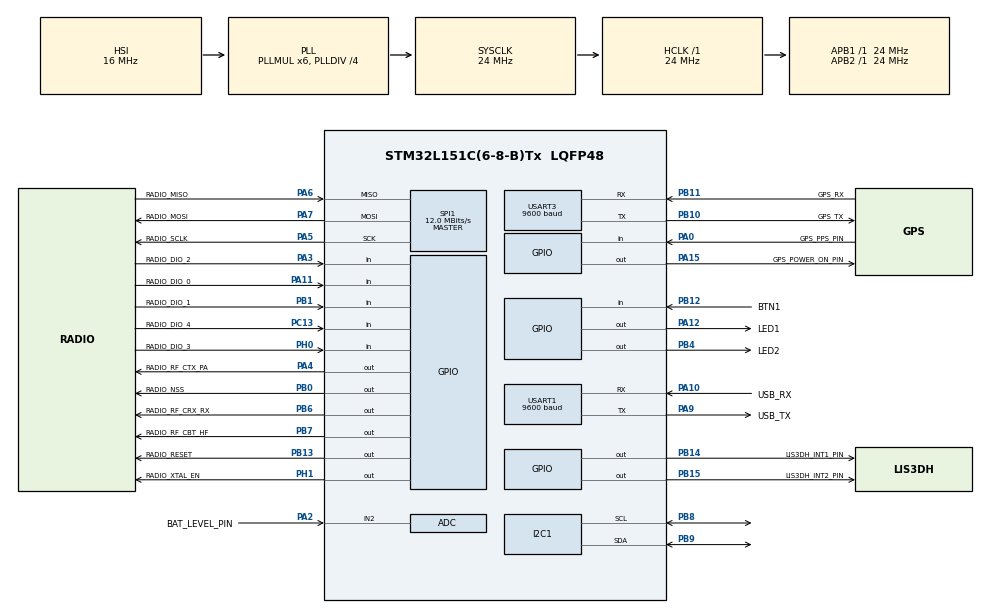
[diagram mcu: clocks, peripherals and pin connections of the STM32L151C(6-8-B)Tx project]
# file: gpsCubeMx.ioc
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ADC.Channel-0\#ChannelRegularConversion=ADC_CHANNEL_2
ADC.NbrOfConversion=1
ADC.NbrOfConversionFlag=1
ADC.Rank-0\#ChannelRegularConversion=1
ADC.SamplingTime-0\#ChannelRegularConversion=ADC_SAMPLETIME_4CYCLES
ADC.ScanConvMode=ADC_SCAN_DISABLE
Mcu.Family=STM32L1
Mcu.Name=STM32L151C(6-8-B)Tx
Mcu.Package=LQFP48
NVIC.ADC1_IRQn=true\:0\:0\:false\:false\:true\:true
NVIC.PriorityGroup=NVIC_PRIORITYGROUP_4
NVIC.RTC_Alarm_IRQn=true\:0\:0\:false\:false\:true\:true
NVIC.RTC_WKUP_IRQn=true\:0\:0\:false\:false\:true\:true
NVIC.USART1_IRQn=true\:0\:0\:false\:false\:true\:true
NVIC.USART3_IRQn=true\:0\:0\:false\:false\:true\:true
PA0-WKUP1.GPIO_Label=GPS_PPS_PIN
PA0-WKUP1.Signal=GPIO_Input
PA10.GPIO_Label=USB_RX
PA10.Mode=Asynchronous
PA10.Signal=USART1_RX
PA11.GPIO_Label=RADIO_DIO_0
PA11.Signal=GPIO_Input
PA12.GPIO_Label=LED1
PA12.Signal=GPIO_Output
PA13.Mode=Serial_Wire
PA13.Signal=SYS_JTMS-SWDIO
PA14.Mode=Serial_Wire
PA14.Signal=SYS_JTCK-SWCLK
PA15.GPIO_Label=GPS_POWER_ON_PIN
PA15.Signal=GPIO_Output
PA2.GPIO_Label=BAT_LEVEL_PIN 
PA2.Mode=IN2
PA2.Signal=ADC_IN2
PA3.GPIO_Label=RADIO_DIO_2
PA3.Signal=GPIO_Input
PA4.GPIO_Label=RADIO_RF_CTX_PA
PA4.Signal=GPIO_Output
PA5.GPIO_Label=RADIO_SCLK
PA5.Mode=Full_Duplex_Master
PA5.Signal=SPI1_SCK
PA6.GPIO_Label=RADIO_MISO
PA6.Mode=Full_Duplex_Master
PA6.Signal=SPI1_MISO
PA7.GPIO_Label=RADIO_MOSI
PA7.Mode=Full_Duplex_Master
PA7.Signal=SPI1_MOSI
PA9.GPIO_Label=USB_TX
PA9.Mode=Asynchronous
PA9.Signal=USART1_TX
PB0.GPIO_Label=RADIO_NSS
PB0.Signal=GPIO_Output
PB1.GPIO_Label=RADIO_DIO_1
PB1.Signal=GPIO_Input
PB10.GPIO_Label=GPS_TX
PB10.Mode=Asynchronous
PB10.Signal=USART3_TX
PB11.GPIO_Label=GPS_RX
PB11.Mode=Asynchronous
PB11.Signal=USART3_RX
PB12.GPIO_Label=BTN1
PB12.GPIO_PuPd=GPIO_PULLUP
PB12.Signal=GPIO_Input
PB13.GPIO_Label=RADIO_RESET
PB13.Signal=GPIO_Output
PB14.GPIO_Label=LIS3DH_INT1_PIN
PB14.Signal=GPIO_Output
PB15.GPIO_Label=LIS3DH_INT2_PIN
PB15.Signal=GPIO_Output
PB4.GPIO_Label=LED2
PB4.Signal=GPIO_Output
PB6.GPIO_Label=RADIO_RF_CRX_RX
PB6.Signal=GPIO_Output
PB7.GPIO_Label=RADIO_RF_CBT_HF
PB7.Signal=GPIO_Output
PB8.Mode=I2C
PB8.Signal=I2C1_SCL
PB9.Mode=I2C
PB9.Signal=I2C1_SDA
PC13-WKUP2.GPIO_Label=RADIO_DIO_4
PC13-WKUP2.Signal=GPIO_Input
PC14-OSC32_IN.Mode=LSE-External-Oscillator
PC14-OSC32_IN.Signal=RCC_OSC32_IN
PC15-OSC32_OUT.Mode=LSE-External-Oscillator
PC15-OSC32_OUT.Signal=RCC_OSC32_OUT
PH0-OSC_IN.GPIO_Label=RADIO_DIO_3
PH0-OSC_IN.Signal=GPIO_Input
PH1-OSC_OUT.GPIO_Label=RADIO_XTAL_EN
PH1-OSC_OUT.Signal=GPIO_Output
ProjectManager.HeapSize=0x200
ProjectManager.StackSize=0x400
ProjectManager.TargetToolchain=Makefile
RCC.48MHZClocksFreq_Value=48000000
RCC.AHBFreq_Value=24000000
RCC.APB1Freq_Value=24000000
RCC.APB1TimFreq_Value=24000000
RCC.APB2Freq_Value=24000000
RCC.APB2TimFreq_Value=24000000
RCC.HCLKFreq_Value=24000000
RCC.HSE_VALUE=24000000
RCC.HSI_VALUE=16000000
RCC.MSI_VALUE=2097000
RCC.PLLDIV=RCC_PLL_DIV4
RCC.PLLMUL=RCC_PLL_MUL6
RCC.RTCClockSelection=RCC_RTCCLKSOURCE_LSE
RCC.RTCClockSelectionVirtual=RCC_RTCCLKSOURCE_LSE
RCC.SYSCLKFreq_VALUE=24000000
RCC.SYSCLKSource=RCC_SYSCLKSOURCE_PLLCLK
RCC.VCOOutputFreq_Value=96000000
RTC.Alarm-Alarm\ A=RTC_ALARM_A
RTC.AlarmMaskDateWeekDay-Alarm\ A=RTC_ALARMMASK_DATEWEEKDAY
RTC.AlarmMaskHours-Alarm\ A=RTC_ALARMMASK_HOURS
RTC.AlarmMaskMinutes-Alarm\ A=RTC_ALARMMASK_MINUTES
RTC.Date=5
RTC.Hours=21
RTC.Minutes=40
RTC.Month=RTC_MONTH_MAY
RTC.Seconds_A-Alarm\ A=59
RTC.WakeUpClock-WakeUp=RTC_WAKEUPCLOCK_CK_SPRE_17BITS
RTC.WakeUpCounter-WakeUp=1
RTC.WeekDay=RTC_WEEKDAY_SATURDAY
RTC.Year=18
SPI1.BaudRatePrescaler=SPI_BAUDRATEPRESCALER_2
SPI1.CalculateBaudRate=12.0 MBits/s
SPI1.Direction=SPI_DIRECTION_2LINES
SPI1.Mode=SPI_MODE_MASTER
SPI1.VirtualType=VM_MASTER
USART1.BaudRate=9600
USART1.VirtualMode=VM_ASYNC
USART3.BaudRate=9600
USART3.VirtualMode=VM_ASYNC
VP_RTC_VS_RTC_Activate.Mode=RTC_Enabled
VP_RTC_VS_RTC_Alarm_A_Intern.Mode=Alarm A
VP_RTC_VS_RTC_Calendar.Mode=RTC_Calendar
VP_RTC_VS_RTC_WakeUp_intern.Mode=WakeUp
board=gpsCubeMx

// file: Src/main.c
/**
  ******************************************************************************
  * @file           : main.c
  * @brief          : Main program body
  ******************************************************************************
  ** This notice applies to any and all portions of this file
  * that are not between comment pairs USER CODE BEGIN and
  * USER CODE END. Other portions of this file, whether
  * inserted by the user or by software development tools
  * are owned by their respective copyright owners.
  *
  * COPYRIGHT(c) 2018 STMicroelectronics
  *
  * Redistribution and use in source and binary forms, with or without modification,
  * are permitted provided that the following conditions are met:
  *   1. Redistributions of source code must retain the above copyright notice,
  *      this list of conditions and the following disclaimer.
  *   2. Redistributions in binary form must reproduce the above copyright notice,
  *      this list of conditions and the following disclaimer in the documentation
  *      and/or other materials provided with the distribution.
  *   3. Neither the name of STMicroelectronics nor the names of its contributors
  *      may be used to endorse or promote products derived from this software
  *      without specific prior written permission.
  *
  * THIS SOFTWARE IS PROVIDED BY THE COPYRIGHT HOLDERS AND CONTRIBUTORS "AS IS"
  * AND ANY EXPRESS OR IMPLIED WARRANTIES, INCLUDING, BUT NOT LIMITED TO, THE
  * IMPLIED WARRANTIES OF MERCHANTABILITY AND FITNESS FOR A PARTICULAR PURPOSE ARE
  * DISCLAIMED. IN NO EVENT SHALL THE COPYRIGHT HOLDER OR CONTRIBUTORS BE LIABLE
  * FOR ANY DIRECT, INDIRECT, INCIDENTAL, SPECIAL, EXEMPLARY, OR CONSEQUENTIAL
  * DAMAGES (INCLUDING, BUT NOT LIMITED TO, PROCUREMENT OF SUBSTITUTE GOODS OR
  * SERVICES; LOSS OF USE, DATA, OR PROFITS; OR BUSINESS INTERRUPTION) HOWEVER
  * CAUSED AND ON ANY THEORY OF LIABILITY, WHETHER IN CONTRACT, STRICT LIABILITY,
  * OR TORT (INCLUDING NEGLIGENCE OR OTHERWISE) ARISING IN ANY WAY OUT OF THE USE
  * OF THIS SOFTWARE, EVEN IF ADVISED OF THE POSSIBILITY OF SUCH DAMAGE.
  *
  ******************************************************************************
  */
#include "main.h"
#include "stm32l1xx_hal.h"
#include "adc.h"
#include "i2c.h"
#include "rtc.h"
#include "spi.h"
#include "usart.h"
#include "gpio.h"
#include <string.h>

/* USER CODE BEGIN PV */
/* Private variables ---------------------------------------------------------*/

/* USER CODE END PV */

void SystemClock_Config(void);

/* USER CODE BEGIN PFP */
/* Private function prototypes -----------------------------------------------*/

/* USER CODE END PFP */

int main(void)
{

  /* MCU Configuration----------------------------------------------------------*/

  /* Reset of all peripherals, Initializes the Flash interface and the Systick. */
  HAL_Init();

  /* Configure the system clock */
  SystemClock_Config();

  /* Initialize all configured peripherals */
  MX_GPIO_Init();
  MX_USART3_UART_Init();
  MX_USART1_UART_Init();
  MX_RTC_Init();
  MX_I2C1_Init();
  MX_SPI1_Init();
  MX_ADC_Init();
  /* USER CODE BEGIN 2 */
  HAL_UART_Receive_IT(&huart1, rxData1, 1);
  HAL_UART_Receive_IT(&huart3, rxData3, 1);

  //Power on GPS
//  HAL_GPIO_WritePin(GPS_POWER_ON_PIN_Pin, GPS_POWER_ON_PIN_GPIO_Port, GPIO_PIN_RESET);

  //Check Src/stm32l1xx_it.c to see how data is captured
  //Variable to store button status
  volatile int stateOfPushButton = 0;
  //loop while BTN1 PB12 is 0
  while (stateOfPushButton == 0){
    int lenght = 0;
    unsigned char buff[100];
    //Read BTN1
    stateOfPushButton = HAL_GPIO_ReadPin(GPIOB, GPIO_PIN_12);
    //If USB-SERIAL data is ready
    //If GPS data is ready
    if (DataReady3 == 1){
      HAL_GPIO_TogglePin(LED2_GPIO_Port,LED2_Pin);
      strcpy(buff, rxBuffer3);
      lenght = strlen(buff);
      //Transmit data to USB-SERIAL
      HAL_UART_Transmit_IT(&huart1, buff, lenght);
      DataReady3=0;
    }

    if (DataReady1 == 1){
      //Toggle LED if data is ready
      HAL_GPIO_TogglePin(LED1_GPIO_Port,LED1_Pin);
      strcpy(buff, rxBuffer1);
      lenght = strlen(buff);
      HAL_UART_Transmit_IT(&huart3, buff, lenght);
      DataReady1=0;
    }
}

  /* USER CODE END 2 */

  /* Infinite loop */
  while (1)
  {

  }

}

void SystemClock_Config(void)
{

  RCC_OscInitTypeDef RCC_OscInitStruct;
  RCC_ClkInitTypeDef RCC_ClkInitStruct;
  RCC_PeriphCLKInitTypeDef PeriphClkInit;

    /**Configure the main internal regulator output voltage
    */
  __HAL_PWR_VOLTAGESCALING_CONFIG(PWR_REGULATOR_VOLTAGE_SCALE1);

    /**Initializes the CPU, AHB and APB busses clocks
    */
  RCC_OscInitStruct.OscillatorType = RCC_OSCILLATORTYPE_HSI|RCC_OSCILLATORTYPE_LSE;
  RCC_OscInitStruct.LSEState = RCC_LSE_ON;
  RCC_OscInitStruct.HSIState = RCC_HSI_ON;
  RCC_OscInitStruct.HSICalibrationValue = 16;
  RCC_OscInitStruct.PLL.PLLState = RCC_PLL_ON;
  RCC_OscInitStruct.PLL.PLLSource = RCC_PLLSOURCE_HSI;
  RCC_OscInitStruct.PLL.PLLMUL = RCC_PLL_MUL6;
  RCC_OscInitStruct.PLL.PLLDIV = RCC_PLL_DIV4;
  if (HAL_RCC_OscConfig(&RCC_OscInitStruct) != HAL_OK)
  {
    _Error_Handler(__FILE__, __LINE__);
  }

    /**Initializes the CPU, AHB and APB busses clocks
    */
  RCC_ClkInitStruct.ClockType = RCC_CLOCKTYPE_HCLK|RCC_CLOCKTYPE_SYSCLK
                              |RCC_CLOCKTYPE_PCLK1|RCC_CLOCKTYPE_PCLK2;
  RCC_ClkInitStruct.SYSCLKSource = RCC_SYSCLKSOURCE_PLLCLK;
  RCC_ClkInitStruct.AHBCLKDivider = RCC_SYSCLK_DIV1;
  RCC_ClkInitStruct.APB1CLKDivider = RCC_HCLK_DIV1;
  RCC_ClkInitStruct.APB2CLKDivider = RCC_HCLK_DIV1;

  if (HAL_RCC_ClockConfig(&RCC_ClkInitStruct, FLASH_LATENCY_1) != HAL_OK)
  {
    _Error_Handler(__FILE__, __LINE__);
  }

  PeriphClkInit.PeriphClockSelection = RCC_PERIPHCLK_RTC;
  PeriphClkInit.RTCClockSelection = RCC_RTCCLKSOURCE_LSE;
  if (HAL_RCCEx_PeriphCLKConfig(&PeriphClkInit) != HAL_OK)
  {
    _Error_Handler(__FILE__, __LINE__);
  }

    /**Configure the Systick interrupt time
    */
  HAL_SYSTICK_Config(HAL_RCC_GetHCLKFreq()/1000);

    /**Configure the Systick
    */
  HAL_SYSTICK_CLKSourceConfig(SYSTICK_CLKSOURCE_HCLK);

  /* SysTick_IRQn interrupt configuration */
  HAL_NVIC_SetPriority(SysTick_IRQn, 0, 0);
}

void _Error_Handler(char *file, int line)
{
  while(1)
  {
  }
}

/************************ (C) COPYRIGHT STMicroelectronics *****END OF FILE****/
